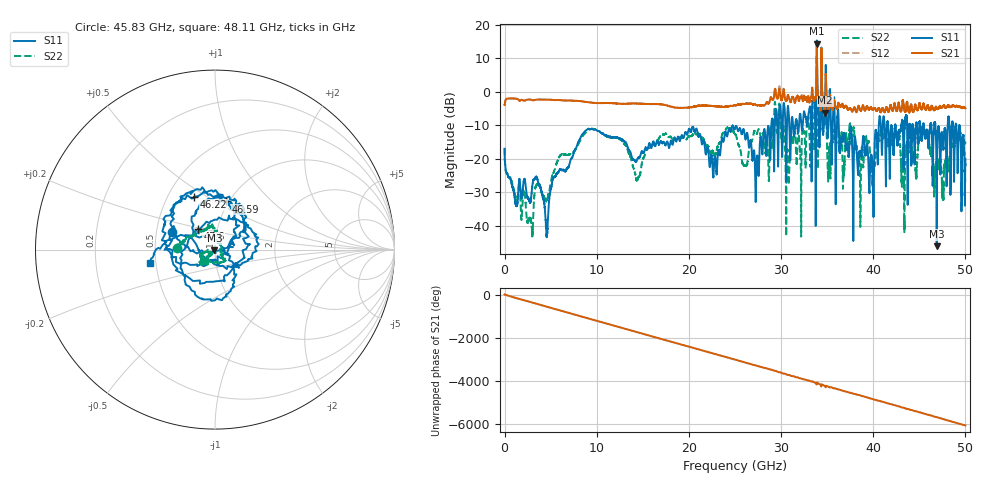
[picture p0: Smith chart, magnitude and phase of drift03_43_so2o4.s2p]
!Created with skrf (http://scikit-rf.org).
# Hz S RI R 50.0
!freq ReS11 ImS11 ReS21 ImS21 ReS12 ImS12 ReS22 ImS22
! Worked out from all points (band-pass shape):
!   10001 points, 300 kHz to 50 GHz, reference 50 ohm
!   highest |S21| = 14.35 dB at 33.88 GHz (marker M1); lowest = -6.2 dB at 34.79 GHz (marker M2)
!   |S21| within 3 dB of the highest: 33.86921 GHz to 33.88843 GHz (19.22 MHz wide, 0.0567 % of centre); 34.37671 GHz to 34.38942 GHz (12.71 MHz wide, 0.037 % of centre)
!   lowest |S11| = -46.1 dB at 46.89 GHz (marker M3), VSWR 1.01, Z = 49.7 - j0.379 ohm
!   |S11| at or under -10 dB: start of sweep to 28.94 GHz; 36.26 GHz to 40.61 GHz (4.341 GHz wide, 11.3 % of centre); 46.74 GHz to 48.08 GHz (1.337 GHz wide, 2.82 % of centre) (the widest 3 of 59)
!   |S22| runs from -43.2 to 11.1 dB; largest |S21 - S12| = 0.81
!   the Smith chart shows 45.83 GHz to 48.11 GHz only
!   S11 on the Smith chart (normalised r, x): 45.83 GHz: 0.60, +0.13; 46.22 GHz: 0.67, +0.44; 46.59 GHz: 0.97, +0.57; 47.6 GHz: 0.80, +0.19; 48.11 GHz: 0.46, -0.08
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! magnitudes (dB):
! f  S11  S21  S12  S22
! 300 kHz  -17.0  -4.0  -4.0  -16.8
! 2.825 GHz  -32.6  -2.4  -2.4  -38.3
! 4.555 GHz  -43.1  -2.3  -2.3  -32.2
! 8.335 GHz  -13.1  -2.8  -2.8  -13.9
! 14.43 GHz  -19.9  -3.5  -3.5  -26.2
! 16.67 GHz  -15.4  -3.7  -3.7  -14.2
! 25 GHz  -11.0  -4.0  -4.0  -12.6
! 27.39 GHz  -19.4  -4.1  -4.1  -12.4
! 29.6 GHz  -10.4  -2.0  -2.1  -11.6
! 30.7 GHz  -5.6  -1.4  -1.4  -17.2
! 33.34 GHz  -13.8  -0.4  -0.5  -7.1
! 33.88 GHz  15.3  14.3  14.0  10.8
! 34.79 GHz  -3.2  -6.2  -4.9  -8.6
! 39.81 GHz  -19.1  -4.9  -4.8  -23.2
! 41.67 GHz  -12.0  -6.0  -6.0  -15.5
! 45.83 GHz  -11.7  -4.5  -4.4  -13.4
! 46.22 GHz  -10.0  -5.4  -5.3  -17.3
! 46.59 GHz  -11.2  -5.5  -5.5  -28.6
! 46.89 GHz  -46.1  -4.9  -4.8  -21.8
! 47.6 GHz  -16.5  -4.3  -4.3  -28.8
! 48.11 GHz  -8.6  -4.1  -4.1  -21.4
! 50 GHz  -20.0  -4.9  -4.9  -15.2
